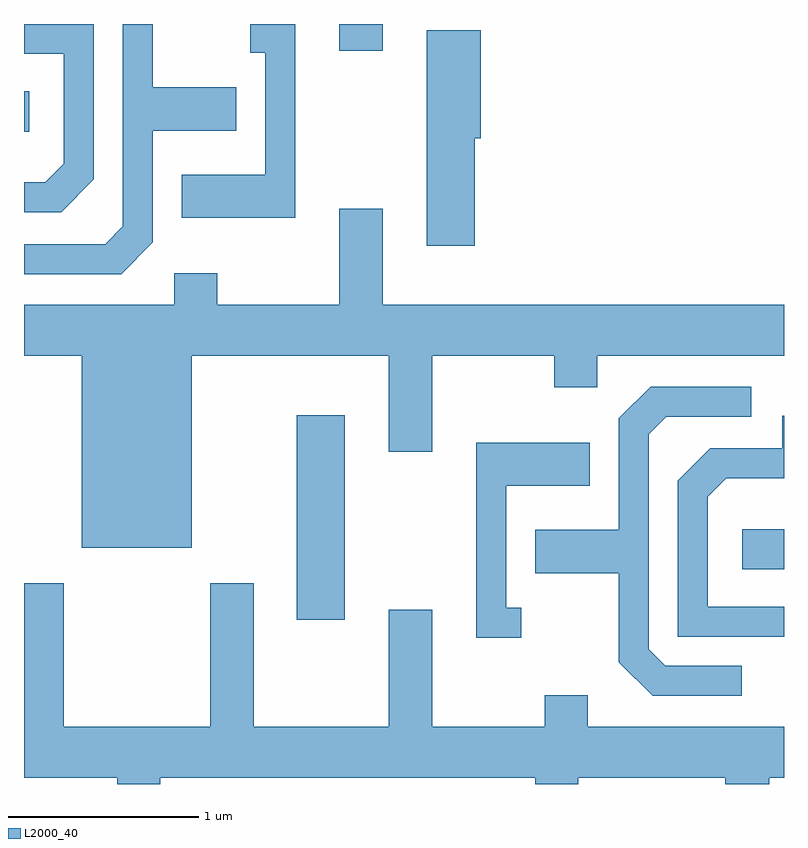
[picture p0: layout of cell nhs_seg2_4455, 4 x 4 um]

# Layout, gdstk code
import gdstk
lib = gdstk.Library(unit=1e-6, precision=1e-09)
def R(c, l, rs):  # rectangles x0, y0, x1, y1
    for r in rs: c.add(gdstk.rectangle(r[:2], r[2:], *l))
def P(c, l, *ps):  # polygons
    for p in ps: c.add(gdstk.Polygon(p, *l))
L2000_40 = (2000, 40)

nhs_seg2_4455 = lib.new_cell('nhs_seg2_4455')
R(nhs_seg2_4455, L2000_40, [(317.046,1084.666,317.299,1085.744), (319.391,1084.931,319.611,1085.144), (315.611,1087.236,315.639,1087.449), (317.271,1087.661,317.499,1087.802)])
P(nhs_seg2_4455, L2000_40, [(316.289,1086.654),(316.289,1087.241),(316.729,1087.241),(316.729,1087.469),(316.289,1087.469),(316.289,1087.802),(316.131,1087.802),(316.131,1086.737),(316.039,1086.644),(315.611,1086.644),(315.611,1086.486),(316.122,1086.486)],
  [(317.039,1087.802),(316.803,1087.802),(316.803,1087.651),(316.881,1087.651),(316.881,1087.009),(316.441,1087.009),(316.441,1086.781),(317.039,1086.781)],
  [(315.979,1086.984),(315.979,1087.802),(315.611,1087.802),(315.611,1087.646),(315.821,1087.646),(315.821,1087.067),(315.724,1086.969),(315.611,1086.969),(315.611,1086.811),(315.807,1086.811)],
  [(317.984,1087.201),(318.014,1087.201),(318.014,1087.769),(317.731,1087.769),(317.731,1086.636),(317.984,1086.636)],
  [(316.494,1086.056),(317.531,1086.056),(317.531,1085.551),(317.759,1085.551),(317.759,1086.056),(318.401,1086.056),(318.401,1085.891),(318.629,1085.891),(318.629,1086.056),(319.611,1086.056),(319.611,1086.324),(317.499,1086.324),(317.499,1086.829),(317.271,1086.829),(317.271,1086.324),(316.629,1086.324),(316.629,1086.489),(316.401,1086.489),(316.401,1086.324),(315.611,1086.324),(315.611,1086.056),(315.916,1086.056),(315.916,1085.046),(316.494,1085.046)],
  [(319.388,1084.424),(318.987,1084.424),(318.899,1084.512),(318.899,1085.644),(318.992,1085.736),(319.438,1085.736),(319.438,1085.894),(318.909,1085.894),(318.741,1085.727),(318.741,1085.139),(318.301,1085.139),(318.301,1084.911),(318.741,1084.911),(318.741,1084.444),(318.919,1084.266),(319.388,1084.266)],
  [(319.611,1084.734),(319.209,1084.734),(319.209,1085.314),(319.307,1085.411),(319.611,1085.411),(319.611,1085.739),(319.601,1085.739),(319.601,1085.569),(319.224,1085.569),(319.051,1085.397),(319.051,1084.576),(319.611,1084.576)],
  [(318.228,1084.729),(318.149,1084.729),(318.149,1085.371),(318.589,1085.371),(318.589,1085.599),(317.991,1085.599),(317.991,1084.571),(318.228,1084.571)],
  [(316.329,1083.836),(318.301,1083.836),(318.301,1083.802),(318.529,1083.802),(318.529,1083.836),(319.301,1083.836),(319.301,1083.802),(319.534,1083.802),(319.534,1083.836),(319.611,1083.836),(319.611,1084.104),(318.579,1084.104),(318.579,1084.269),(318.351,1084.269),(318.351,1084.104),(317.759,1084.104),(317.759,1084.719),(317.531,1084.719),(317.531,1084.104),(316.819,1084.104),(316.819,1084.859),(316.591,1084.859),(316.591,1084.104),(315.819,1084.104),(315.819,1084.859),(315.611,1084.859),(315.611,1083.836),(316.101,1083.836),(316.101,1083.802),(316.329,1083.802)])

lib.write_gds('nhs_seg2_4455.gds')
